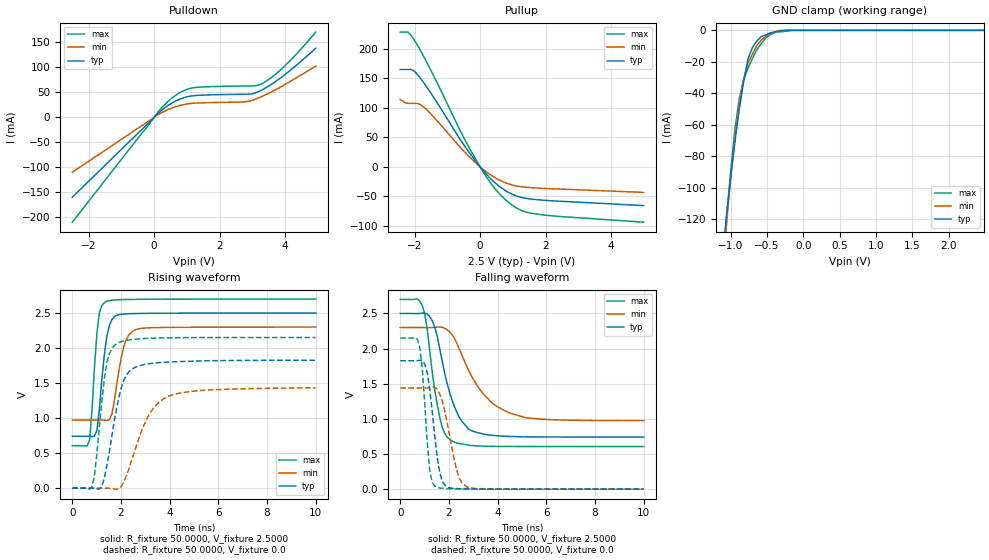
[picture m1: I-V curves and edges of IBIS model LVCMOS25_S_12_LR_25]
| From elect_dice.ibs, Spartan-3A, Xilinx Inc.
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|   Model LVCMOS25_S_12_LR_25
[Model]  LVCMOS25_S_12_LR_25
Model_type I/O
Polarity   Non-Inverting
Enable   Active-Low
Vinl =   0.7000V
Vinh =   1.7000V
Vmeas =  1.2500V
Cref =   0.0F
Rref =   1.0000M
Vref =   0.0V
C_comp   6.5640pF   6.1748pF   7.0674pF
[Temperature Range]   27.0000   85.0000   0.0
[Voltage Range]   2.5000V   2.3000V   2.7000V
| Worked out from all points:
|   slope of the pulldown table from 0 to 0.375 V, typ, clamps not added: 17.4 ohm
|   slope of the pullup table from 0 to 0.375 V, typ, clamps not added: 16.4 ohm
|   GND clamp passes 1 mA (typ) near -0.39 V on its own axis
|   rising waveform, R_fixture 50.0000, V_fixture 2.5000: 20-80 % time 309ps typ, 402ps min, 246ps max; typ from 0.741 V to 2.5 V
|   rising waveform, R_fixture 50.0000, V_fixture 0.0: 20-80 % time 593ps typ, 1.01ns min, 396ps max; typ from 0 V to 1.83 V
|   falling waveform, R_fixture 50.0000, V_fixture 2.5000: 20-80 % time 792ps typ, 1.35ns min, 515ps max; typ from 2.5 V to 0.742 V
|   falling waveform, R_fixture 50.0000, V_fixture 0.0: 20-80 % time 368ps typ, 508ps min, 267ps max; typ from 1.83 V to 0 V
[Pulldown]
|Voltage   I(typ)   I(min)   I(max)
-2.5V     -159.9mA   -109.8mA   -209.9mA
140mV     9.02mA     5.955mA    12.23mA
540mV     28.46mA    18.77mA    38.54mA
860mV     38.26mA    25.07mA    52mA
1.18V     43.25mA    28.19mA    59.07mA
2.78V     46.33mA    31.11mA    62.83mA
3.02V     47.67mA    34.87mA    63.08mA
3.26V     53.78mA    40.89mA    66.54mA
3.58V     65.97mA    50.78mA    79.56mA
3.98V     84.81mA    65.07mA    102.3mA
4.46V     110.7mA    83.66mA    134.7mA
4.94V     138.5mA    102.5mA    170.8mA
[Pullup]
|Voltage   I(typ)   I(min)   I(max)
-2.44V    164.6mA    113.8mA    227.9mA
-2.2V     164.6mA    107.3mA    227.9mA
-1.96V    158.9mA    107.3mA    209.9mA
-1.8V     148.2mA    104.3mA    194.5mA
-1.56V    129.3mA    92.53mA    169.4mA
-520mV    38.96mA    27.8mA     51.69mA
-40mV     2.817mA    1.95mA     3.801mA
440mV     -26.24mA   -17.88mA   -35.85mA
920mV     -44.84mA   -29.86mA   -62.44mA
1.32V     -52.59mA   -34.16mA   -75.09mA
1.8V      -55.98mA   -36.17mA   -80.61mA
5V        -65.68mA   -43.34mA   -93.79mA
[GND_clamp]
|Voltage   I(typ)   I(min)   I(max)
-2.5V     -904.1mA   -962.6mA   -1.02A
-1.12V    -152.2mA   -160.4mA   -158.5mA
-1.06V    -119.5mA   -126.2mA   -121mA
-940mV    -70.9mA    -68mA      -62.9mA
-880mV    -50.2mA    -46.2mA    -43.4mA
-820mV    -32.8mA    -30.8mA    -31.5mA
-760mV    -18.2mA    -20.7mA    -24mA
-700mV    -11mA      -15.3mA    -18mA
-580mV    -4mA       -6.3mA     -8.5mA
-400mV    -1.1mA     -1mA       -1.5mA
-160mV    0A         0A         0A
2.48V     0A         0A         0A
[POWER_clamp]
|Voltage   I(typ)   I(min)   I(max)
-2.49V    0A         0A         0A
-2.46V    0A         0A         0A
-2.43V    0A         0A         0A
0V        0A         0A         0A
[Ramp]
dV/dt_r  1.0956/0.5862n   0.8598/0.9979n   1.2900/0.3962n
dV/dt_f  1.0551/0.7920n   0.7953/1.3342n   1.2559/0.5052n
R_load = 50.0000
[Rising Waveform]
R_fixture= 50.0000
V_fixture= 2.5000
V_fixture_min= 2.3000
V_fixture_max= 2.7000
|time   V(typ)   V(min)   V(max)
0s        741.4mV    973.3mV    606.9mV
710ps     741.3mV    973.3mV    689.3mV
1.01ns    825.6mV    973.4mV    2.214V
1.11ns    1.123V     973.4mV    2.501V
1.21ns    1.546V     973.3mV    2.608V
1.41ns    2.151V     966.5mV    2.667V
1.62ns    2.403V     1.051V     2.682V
2.12ns    2.485V     2.028V     2.692V
2.63ns    2.493V     2.266V     2.695V
10ns      2.499V     2.299V     2.699V
[Rising Waveform]
R_fixture= 50.0000
V_fixture= 0.0
|time   V(typ)   V(min)   V(max)
0s        0V         0V         0V
810ps     278.4uV    -351nV     20.1mV
910ps     -2.334mV   -1.784uV   181mV
1.21ns    21.14mV    12.63uV    1.229V
1.41ns    307.8mV    486.8uV    1.781V
1.82ns    1.143V     -13.84mV   2.061V
2.32ns    1.661V     269.7mV    2.115V
3.13ns    1.775V     1.037V     2.139V
3.84ns    1.798V     1.293V     2.146V
10ns      1.826V     1.433V     2.15V
[Falling Waveform]
R_fixture= 50.0000
V_fixture= 2.5000
V_fixture_min= 2.3000
V_fixture_max= 2.7000
|time   V(typ)   V(min)   V(max)
0s        2.5V       2.3V       2.7V
910ps     2.505V     2.3V       2.607V
1.11ns    2.492V     2.299V     2.271V
1.31ns    2.399V     2.3V       1.675V
1.62ns    2.003V     2.306V     1.026V
2.12ns    1.277V     2.2V       688.2mV
2.83ns    848.3mV    1.677V     625.9mV
3.74ns    767.5mV    1.236V     609.7mV
4.44ns    751.2mV    1.092V     607.5mV
10ns      741.5mV    974.5mV    606.9mV
[Falling Waveform]
R_fixture= 50.0000
V_fixture= 0.0
|time   V(typ)   V(min)   V(max)
0s        1.827V     1.439V     2.15V
610ps     1.827V     1.439V     2.157V
810ps     1.836V     1.439V     2.003V
1.01ns    1.775V     1.439V     1.204V
1.21ns    1.425V     1.447V     270.8mV
1.41ns    776.9mV    1.45V      46.39mV
1.72ns    115.7mV    1.265V     12.95mV
2.32ns    8.435mV    272.2mV    3.137mV
2.73ns    4.539mV    30.57mV    1.395mV
10ns      1.172uV    117uV      58.56uV
